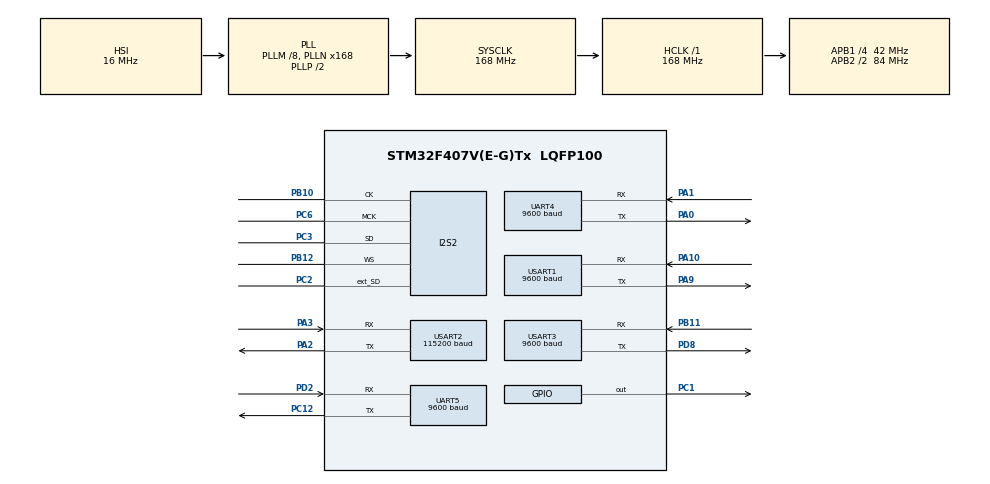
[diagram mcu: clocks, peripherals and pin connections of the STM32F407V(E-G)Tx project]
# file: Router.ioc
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Dma.Request0=UART4_RX
Dma.Request1=UART4_TX
Dma.Request2=UART5_RX
Dma.Request3=UART5_TX
Dma.Request4=USART1_RX
Dma.Request5=USART1_TX
Dma.Request6=USART2_RX
Dma.Request7=USART2_TX
Dma.Request8=USART3_RX
Dma.Request9=USART3_TX
Dma.UART4_RX.0.Direction=DMA_PERIPH_TO_MEMORY
Dma.UART4_RX.0.FIFOMode=DMA_FIFOMODE_DISABLE
Dma.UART4_RX.0.Instance=DMA1_Stream2
Dma.UART4_RX.0.MemDataAlignment=DMA_MDATAALIGN_BYTE
Dma.UART4_RX.0.MemInc=DMA_MINC_ENABLE
Dma.UART4_RX.0.Mode=DMA_NORMAL
Dma.UART4_RX.0.PeriphDataAlignment=DMA_PDATAALIGN_BYTE
Dma.UART4_RX.0.PeriphInc=DMA_PINC_DISABLE
Dma.UART4_RX.0.Priority=DMA_PRIORITY_LOW
Dma.UART4_TX.1.Direction=DMA_MEMORY_TO_PERIPH
Dma.UART4_TX.1.FIFOMode=DMA_FIFOMODE_DISABLE
Dma.UART4_TX.1.Instance=DMA1_Stream4
Dma.UART4_TX.1.MemDataAlignment=DMA_MDATAALIGN_BYTE
Dma.UART4_TX.1.MemInc=DMA_MINC_ENABLE
Dma.UART4_TX.1.Mode=DMA_NORMAL
Dma.UART4_TX.1.PeriphDataAlignment=DMA_PDATAALIGN_BYTE
Dma.UART4_TX.1.PeriphInc=DMA_PINC_DISABLE
Dma.UART4_TX.1.Priority=DMA_PRIORITY_LOW
Dma.UART5_RX.2.Direction=DMA_PERIPH_TO_MEMORY
Dma.UART5_RX.2.FIFOMode=DMA_FIFOMODE_DISABLE
Dma.UART5_RX.2.Instance=DMA1_Stream0
Dma.UART5_RX.2.MemDataAlignment=DMA_MDATAALIGN_BYTE
Dma.UART5_RX.2.MemInc=DMA_MINC_ENABLE
Dma.UART5_RX.2.Mode=DMA_NORMAL
Dma.UART5_RX.2.PeriphDataAlignment=DMA_PDATAALIGN_BYTE
Dma.UART5_RX.2.PeriphInc=DMA_PINC_DISABLE
Dma.UART5_RX.2.Priority=DMA_PRIORITY_LOW
Dma.UART5_TX.3.Direction=DMA_MEMORY_TO_PERIPH
Dma.UART5_TX.3.FIFOMode=DMA_FIFOMODE_DISABLE
Dma.UART5_TX.3.Instance=DMA1_Stream7
Dma.UART5_TX.3.MemDataAlignment=DMA_MDATAALIGN_BYTE
Dma.UART5_TX.3.MemInc=DMA_MINC_ENABLE
Dma.UART5_TX.3.Mode=DMA_NORMAL
Dma.UART5_TX.3.PeriphDataAlignment=DMA_PDATAALIGN_BYTE
Dma.UART5_TX.3.PeriphInc=DMA_PINC_DISABLE
Dma.UART5_TX.3.Priority=DMA_PRIORITY_LOW
Dma.USART1_RX.4.Direction=DMA_PERIPH_TO_MEMORY
Dma.USART1_RX.4.FIFOMode=DMA_FIFOMODE_DISABLE
Dma.USART1_RX.4.Instance=DMA2_Stream2
Dma.USART1_RX.4.MemDataAlignment=DMA_MDATAALIGN_BYTE
Dma.USART1_RX.4.MemInc=DMA_MINC_ENABLE
Dma.USART1_RX.4.Mode=DMA_NORMAL
Dma.USART1_RX.4.PeriphDataAlignment=DMA_PDATAALIGN_BYTE
Dma.USART1_RX.4.PeriphInc=DMA_PINC_DISABLE
Dma.USART1_RX.4.Priority=DMA_PRIORITY_LOW
Dma.USART1_TX.5.Direction=DMA_MEMORY_TO_PERIPH
Dma.USART1_TX.5.FIFOMode=DMA_FIFOMODE_DISABLE
Dma.USART1_TX.5.Instance=DMA2_Stream7
Dma.USART1_TX.5.MemDataAlignment=DMA_MDATAALIGN_BYTE
Dma.USART1_TX.5.MemInc=DMA_MINC_ENABLE
Dma.USART1_TX.5.Mode=DMA_NORMAL
Dma.USART1_TX.5.PeriphDataAlignment=DMA_PDATAALIGN_BYTE
Dma.USART1_TX.5.PeriphInc=DMA_PINC_DISABLE
Dma.USART1_TX.5.Priority=DMA_PRIORITY_LOW
Dma.USART2_RX.6.Direction=DMA_PERIPH_TO_MEMORY
Dma.USART2_RX.6.FIFOMode=DMA_FIFOMODE_DISABLE
Dma.USART2_RX.6.Instance=DMA1_Stream5
Dma.USART2_RX.6.MemDataAlignment=DMA_MDATAALIGN_BYTE
Dma.USART2_RX.6.MemInc=DMA_MINC_ENABLE
Dma.USART2_RX.6.Mode=DMA_NORMAL
Dma.USART2_RX.6.PeriphDataAlignment=DMA_PDATAALIGN_BYTE
Dma.USART2_RX.6.PeriphInc=DMA_PINC_DISABLE
Dma.USART2_RX.6.Priority=DMA_PRIORITY_LOW
Dma.USART2_TX.7.Direction=DMA_MEMORY_TO_PERIPH
Dma.USART2_TX.7.FIFOMode=DMA_FIFOMODE_DISABLE
Dma.USART2_TX.7.Instance=DMA1_Stream6
Dma.USART2_TX.7.MemDataAlignment=DMA_MDATAALIGN_BYTE
Dma.USART2_TX.7.MemInc=DMA_MINC_ENABLE
Dma.USART2_TX.7.Mode=DMA_NORMAL
Dma.USART2_TX.7.PeriphDataAlignment=DMA_PDATAALIGN_BYTE
Dma.USART2_TX.7.PeriphInc=DMA_PINC_DISABLE
Dma.USART2_TX.7.Priority=DMA_PRIORITY_LOW
Dma.USART3_RX.8.Direction=DMA_PERIPH_TO_MEMORY
Dma.USART3_RX.8.FIFOMode=DMA_FIFOMODE_DISABLE
Dma.USART3_RX.8.Instance=DMA1_Stream1
Dma.USART3_RX.8.MemDataAlignment=DMA_MDATAALIGN_BYTE
Dma.USART3_RX.8.MemInc=DMA_MINC_ENABLE
Dma.USART3_RX.8.Mode=DMA_NORMAL
Dma.USART3_RX.8.PeriphDataAlignment=DMA_PDATAALIGN_BYTE
Dma.USART3_RX.8.PeriphInc=DMA_PINC_DISABLE
Dma.USART3_RX.8.Priority=DMA_PRIORITY_LOW
Dma.USART3_TX.9.Direction=DMA_MEMORY_TO_PERIPH
Dma.USART3_TX.9.FIFOMode=DMA_FIFOMODE_DISABLE
Dma.USART3_TX.9.Instance=DMA1_Stream3
Dma.USART3_TX.9.MemDataAlignment=DMA_MDATAALIGN_BYTE
Dma.USART3_TX.9.MemInc=DMA_MINC_ENABLE
Dma.USART3_TX.9.Mode=DMA_NORMAL
Dma.USART3_TX.9.PeriphDataAlignment=DMA_PDATAALIGN_BYTE
Dma.USART3_TX.9.PeriphInc=DMA_PINC_DISABLE
Dma.USART3_TX.9.Priority=DMA_PRIORITY_LOW
I2S2.ErrorAudioFreq=1.72 %
I2S2.FullDuplexMode=I2S_FULLDUPLEXMODE_ENABLE
I2S2.Instance=SPI$Index
I2S2.RealAudioFreq=8.138 KHz
I2S2.Standard=I2S_STANDARD_PCM_LONG
I2S2.VirtualMode=I2S_MODE_MASTER
Mcu.Family=STM32F4
Mcu.Name=STM32F407V(E-G)Tx
Mcu.Package=LQFP100
NVIC.DMA1_Stream0_IRQn=true\:0\:0\:false\:false\:true\:false
NVIC.DMA1_Stream1_IRQn=true\:0\:0\:false\:false\:true\:false
NVIC.DMA1_Stream2_IRQn=true\:0\:0\:false\:false\:true\:false
NVIC.DMA1_Stream3_IRQn=true\:0\:0\:false\:false\:true\:false
NVIC.DMA1_Stream4_IRQn=true\:0\:0\:false\:false\:true\:false
NVIC.DMA1_Stream5_IRQn=true\:0\:0\:false\:false\:true\:false
NVIC.DMA1_Stream6_IRQn=true\:0\:0\:false\:false\:true\:false
NVIC.DMA1_Stream7_IRQn=true\:0\:0\:false\:false\:true\:false
NVIC.DMA2_Stream2_IRQn=true\:0\:0\:false\:false\:true\:false
NVIC.DMA2_Stream7_IRQn=true\:0\:0\:false\:false\:true\:false
NVIC.PriorityGroup=NVIC_PRIORITYGROUP_4
NVIC.SPI2_IRQn=true\:0\:0\:false\:false\:true\:true
NVIC.UART4_IRQn=true\:0\:0\:false\:false\:true\:true
NVIC.UART5_IRQn=true\:0\:0\:false\:false\:true\:true
NVIC.USART1_IRQn=true\:0\:0\:false\:false\:true\:true
NVIC.USART2_IRQn=true\:0\:0\:false\:false\:true\:true
NVIC.USART3_IRQn=true\:0\:0\:false\:false\:true\:true
PA0-WKUP.Mode=Asynchronous
PA0-WKUP.Signal=UART4_TX
PA1.Mode=Asynchronous
PA1.Signal=UART4_RX
PA10.Mode=Asynchronous
PA10.Signal=USART1_RX
PA13.Mode=Serial_Wire
PA13.Signal=SYS_JTMS-SWDIO
PA14.Mode=Serial_Wire
PA14.Signal=SYS_JTCK-SWCLK
PA2.Mode=Asynchronous
PA2.Signal=USART2_TX
PA3.Mode=Asynchronous
PA3.Signal=USART2_RX
PA9.Mode=Asynchronous
PA9.Signal=USART1_TX
PB10.Mode=Full_Duplex_Master
PB10.Signal=I2S2_CK
PB11.Mode=Asynchronous
PB11.Signal=USART3_RX
PB12.Mode=Full_Duplex_Master
PB12.Signal=I2S2_WS
PC1.Signal=GPIO_Output
PC12.Mode=Asynchronous
PC12.Signal=UART5_TX
PC2.Mode=Full_Duplex_Master
PC2.Signal=I2S2_ext_SD
PC3.Mode=Full_Duplex_Master
PC3.Signal=I2S2_SD
PC6.Mode=Master_Clock_Activated
PC6.Signal=I2S2_MCK
PD2.Mode=Asynchronous
PD2.Signal=UART5_RX
PD8.Mode=Asynchronous
PD8.Signal=USART3_TX
PH0-OSC_IN.Mode=HSE-External-Oscillator
PH0-OSC_IN.Signal=RCC_OSC_IN
PH1-OSC_OUT.Mode=HSE-External-Oscillator
PH1-OSC_OUT.Signal=RCC_OSC_OUT
ProjectManager.HeapSize=0x200
ProjectManager.StackSize=0x400
ProjectManager.TargetToolchain=SW4STM32
RCC.48MHZClocksFreq_Value=84000000
RCC.AHBFreq_Value=168000000
RCC.APB1CLKDivider=RCC_HCLK_DIV4
RCC.APB1Freq_Value=42000000
RCC.APB1TimFreq_Value=84000000
RCC.APB2CLKDivider=RCC_HCLK_DIV2
RCC.APB2Freq_Value=84000000
RCC.APB2TimFreq_Value=168000000
RCC.CortexFreq_Value=168000000
RCC.HCLKFreq_Value=168000000
RCC.HSE_VALUE=25000000
RCC.HSI_VALUE=16000000
RCC.LSE_VALUE=32768
RCC.PLLI2SN=50
RCC.PLLM=8
RCC.PLLN=168
RCC.SYSCLKFreq_VALUE=168000000
RCC.SYSCLKSource=RCC_SYSCLKSOURCE_PLLCLK
RCC.VCOOutputFreq_Value=336000000
UART4.BaudRate=9600
UART4.VirtualMode=Asynchronous
UART5.BaudRate=9600
UART5.VirtualMode=Asynchronous
USART1.BaudRate=9600
USART1.VirtualMode=VM_ASYNC
USART2.BaudRate=115200
USART2.VirtualMode=VM_ASYNC
USART3.BaudRate=9600
USART3.VirtualMode=VM_ASYNC
board=Router

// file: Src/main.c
/**
  ******************************************************************************
  * @file           : main.c
  * @brief          : Main program body
  ******************************************************************************
  ** This notice applies to any and all portions of this file
  * that are not between comment pairs USER CODE BEGIN and
  * USER CODE END. Other portions of this file, whether
  * inserted by the user or by software development tools
  * are owned by their respective copyright owners.
  *
  * COPYRIGHT(c) 2018 STMicroelectronics
  *
  * Redistribution and use in source and binary forms, with or without modification,
  * are permitted provided that the following conditions are met:
  *   1. Redistributions of source code must retain the above copyright notice,
  *      this list of conditions and the following disclaimer.
  *   2. Redistributions in binary form must reproduce the above copyright notice,
  *      this list of conditions and the following disclaimer in the documentation
  *      and/or other materials provided with the distribution.
  *   3. Neither the name of STMicroelectronics nor the names of its contributors
  *      may be used to endorse or promote products derived from this software
  *      without specific prior written permission.
  *
  * THIS SOFTWARE IS PROVIDED BY THE COPYRIGHT HOLDERS AND CONTRIBUTORS "AS IS"
  * AND ANY EXPRESS OR IMPLIED WARRANTIES, INCLUDING, BUT NOT LIMITED TO, THE
  * IMPLIED WARRANTIES OF MERCHANTABILITY AND FITNESS FOR A PARTICULAR PURPOSE ARE
  * DISCLAIMED. IN NO EVENT SHALL THE COPYRIGHT HOLDER OR CONTRIBUTORS BE LIABLE
  * FOR ANY DIRECT, INDIRECT, INCIDENTAL, SPECIAL, EXEMPLARY, OR CONSEQUENTIAL
  * DAMAGES (INCLUDING, BUT NOT LIMITED TO, PROCUREMENT OF SUBSTITUTE GOODS OR
  * SERVICES; LOSS OF USE, DATA, OR PROFITS; OR BUSINESS INTERRUPTION) HOWEVER
  * CAUSED AND ON ANY THEORY OF LIABILITY, WHETHER IN CONTRACT, STRICT LIABILITY,
  * OR TORT (INCLUDING NEGLIGENCE OR OTHERWISE) ARISING IN ANY WAY OUT OF THE USE
  * OF THIS SOFTWARE, EVEN IF ADVISED OF THE POSSIBILITY OF SUCH DAMAGE.
  *
  ******************************************************************************
  */
#include "main.h"
#include "stm32f4xx_hal.h"
#include "dma.h"
#include "i2s.h"
#include "usart.h"
#include "gpio.h"

/* USER CODE BEGIN Includes */
#include "dataProcessing.h"

/* USER CODE END Includes */

/* USER CODE BEGIN PV */
/* Private variables ---------------------------------------------------------*/

/* USER CODE END PV */

void SystemClock_Config(void);

/* USER CODE BEGIN PFP */
/* Private function prototypes -----------------------------------------------*/

/* USER CODE END PFP */

/* USER CODE BEGIN 0 */

unsigned char usart1_rx_buffer[128];
unsigned char usart1_tx_buffer[128];
unsigned int usart1_tx_len = 0;
unsigned char usart1_rx_flag = 0;

unsigned char usart2_rx_buffer[128];
unsigned char usart2_tx_buffer[128];
unsigned int usart2_tx_len = 0;
unsigned char usart2_rx_flag = 0;

unsigned char usart3_rx_buffer[128];
unsigned char usart3_tx_buffer[128];
unsigned int usart3_tx_len = 0;
unsigned char usart3_rx_flag = 0;

unsigned char uart4_rx_buffer[128];
unsigned char uart4_tx_buffer[128];
unsigned int uart4_tx_len = 0;
unsigned char uart4_rx_flag = 0;

unsigned char uart5_rx_buffer[128];
unsigned char uart5_tx_buffer[128];
unsigned int uart5_tx_len = 0;
unsigned char uart5_rx_flag = 0;

/* USER CODE END 0 */

int main(void)
{

  /* MCU Configuration----------------------------------------------------------*/

  /* Reset of all peripherals, Initializes the Flash interface and the Systick. */
  HAL_Init();

  /* Configure the system clock */
  SystemClock_Config();

  /* Initialize all configured peripherals */
  MX_GPIO_Init();
  MX_DMA_Init();
  MX_I2S2_Init();
  MX_UART4_Init();
  MX_UART5_Init();
  MX_USART1_UART_Init();
  MX_USART2_UART_Init();
  MX_USART3_UART_Init();
  /* USER CODE BEGIN 2 */

  /* USART接收 */
  if (HAL_UART_Receive_DMA(&huart1, (uint8_t *)&usart1_rx_buffer, 128) != HAL_OK)    Error_Handler();
  if (HAL_UART_Receive_DMA(&huart2, (uint8_t *)&usart2_rx_buffer, 128) != HAL_OK)    Error_Handler();
  if (HAL_UART_Receive_DMA(&huart3, (uint8_t *)&usart3_rx_buffer, 128) != HAL_OK)    Error_Handler();
  if (HAL_UART_Receive_DMA(&huart4, (uint8_t *)&uart4_rx_buffer, 128) != HAL_OK)    Error_Handler();
  if (HAL_UART_Receive_DMA(&huart5, (uint8_t *)&uart5_rx_buffer, 128) != HAL_OK)    Error_Handler();

  /* 开启空闲接收中断 */
  __HAL_UART_ENABLE_IT(&huart1, UART_IT_IDLE);
  __HAL_UART_ENABLE_IT(&huart2, UART_IT_IDLE);
  __HAL_UART_ENABLE_IT(&huart3, UART_IT_IDLE);
  __HAL_UART_ENABLE_IT(&huart4, UART_IT_IDLE);
  __HAL_UART_ENABLE_IT(&huart5, UART_IT_IDLE);

  /* USER CODE END 2 */

  /* Infinite loop */
  while (1)
  {

  /* USER CODE BEGIN 3 */
	  dataProcessing();

  }
  /* USER CODE END 3 */

}

void SystemClock_Config(void)
{

  RCC_OscInitTypeDef RCC_OscInitStruct;
  RCC_ClkInitTypeDef RCC_ClkInitStruct;
  RCC_PeriphCLKInitTypeDef PeriphClkInitStruct;

    /**Configure the main internal regulator output voltage
    */
  __HAL_RCC_PWR_CLK_ENABLE();

  __HAL_PWR_VOLTAGESCALING_CONFIG(PWR_REGULATOR_VOLTAGE_SCALE1);

    /**Initializes the CPU, AHB and APB busses clocks
    */
  RCC_OscInitStruct.OscillatorType = RCC_OSCILLATORTYPE_HSI;
  RCC_OscInitStruct.HSIState = RCC_HSI_ON;
  RCC_OscInitStruct.HSICalibrationValue = 16;
  RCC_OscInitStruct.PLL.PLLState = RCC_PLL_ON;
  RCC_OscInitStruct.PLL.PLLSource = RCC_PLLSOURCE_HSI;
  RCC_OscInitStruct.PLL.PLLM = 8;
  RCC_OscInitStruct.PLL.PLLN = 168;
  RCC_OscInitStruct.PLL.PLLP = RCC_PLLP_DIV2;
  RCC_OscInitStruct.PLL.PLLQ = 4;
  if (HAL_RCC_OscConfig(&RCC_OscInitStruct) != HAL_OK)
  {
    _Error_Handler(__FILE__, __LINE__);
  }

    /**Initializes the CPU, AHB and APB busses clocks
    */
  RCC_ClkInitStruct.ClockType = RCC_CLOCKTYPE_HCLK|RCC_CLOCKTYPE_SYSCLK
                              |RCC_CLOCKTYPE_PCLK1|RCC_CLOCKTYPE_PCLK2;
  RCC_ClkInitStruct.SYSCLKSource = RCC_SYSCLKSOURCE_PLLCLK;
  RCC_ClkInitStruct.AHBCLKDivider = RCC_SYSCLK_DIV1;
  RCC_ClkInitStruct.APB1CLKDivider = RCC_HCLK_DIV4;
  RCC_ClkInitStruct.APB2CLKDivider = RCC_HCLK_DIV2;

  if (HAL_RCC_ClockConfig(&RCC_ClkInitStruct, FLASH_LATENCY_5) != HAL_OK)
  {
    _Error_Handler(__FILE__, __LINE__);
  }

  PeriphClkInitStruct.PeriphClockSelection = RCC_PERIPHCLK_I2S;
  PeriphClkInitStruct.PLLI2S.PLLI2SN = 50;
  PeriphClkInitStruct.PLLI2S.PLLI2SR = 2;
  if (HAL_RCCEx_PeriphCLKConfig(&PeriphClkInitStruct) != HAL_OK)
  {
    _Error_Handler(__FILE__, __LINE__);
  }

    /**Configure the Systick interrupt time
    */
  HAL_SYSTICK_Config(HAL_RCC_GetHCLKFreq()/1000);

    /**Configure the Systick
    */
  HAL_SYSTICK_CLKSourceConfig(SYSTICK_CLKSOURCE_HCLK);

  /* SysTick_IRQn interrupt configuration */
  HAL_NVIC_SetPriority(SysTick_IRQn, 0, 0);
}

void _Error_Handler(char *file, int line)
{
  while(1)
  {
  }
}

/************************ (C) COPYRIGHT STMicroelectronics *****END OF FILE****/
